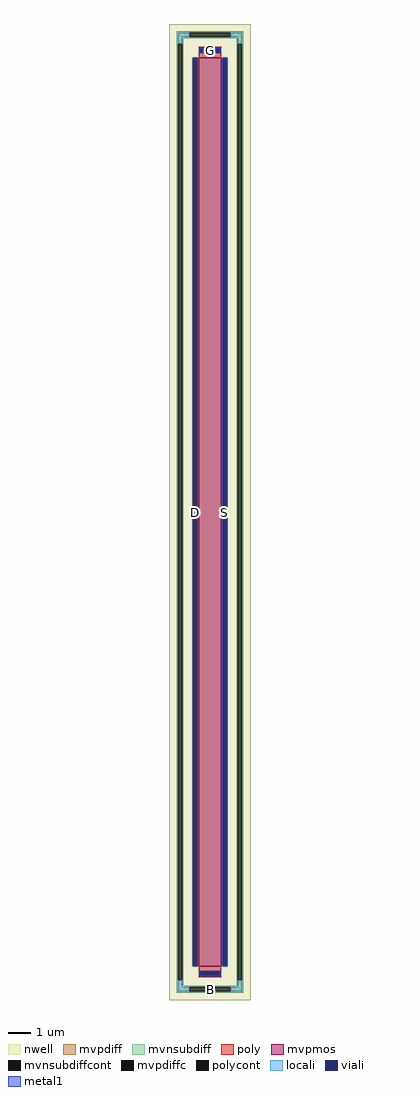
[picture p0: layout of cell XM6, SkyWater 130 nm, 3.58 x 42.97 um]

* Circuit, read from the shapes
.subckt XM6 B D S G
XM1 S G D B sky130_fd_pr__pfet_g5v0d10v5 w=40 l=1
.ends

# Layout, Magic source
magic
tech sky130A
magscale 1 2
<< nwell >>
rect -358 -4297 358 4297
<< mvpmos >>
rect -100 -4000 100 4000
<< mvpdiff >>
rect -158 3988 -100 4000
rect -158 -3988 -146 3988
rect -112 -3988 -100 3988
rect -158 -4000 -100 -3988
rect 100 3988 158 4000
rect 100 -3988 112 3988
rect 146 -3988 158 3988
rect 100 -4000 158 -3988
<< mvpdiffc >>
rect -146 -3988 -112 3988
rect 112 -3988 146 3988
<< mvnsubdiff >>
rect -292 4219 292 4231
rect -292 4185 -184 4219
rect 184 4185 292 4219
rect -292 4173 292 4185
rect -292 4123 -234 4173
rect -292 -4123 -280 4123
rect -246 -4123 -234 4123
rect 234 4123 292 4173
rect -292 -4173 -234 -4123
rect 234 -4123 246 4123
rect 280 -4123 292 4123
rect 234 -4173 292 -4123
rect -292 -4185 292 -4173
rect -292 -4219 -184 -4185
rect 184 -4219 292 -4185
rect -292 -4231 292 -4219
<< mvnsubdiffcont >>
rect -184 4185 184 4219
rect -280 -4123 -246 4123
rect 246 -4123 280 4123
rect -184 -4219 184 -4185
<< poly >>
rect -100 4081 100 4097
rect -100 4047 -84 4081
rect 84 4047 100 4081
rect -100 4000 100 4047
rect -100 -4047 100 -4000
rect -100 -4081 -84 -4047
rect 84 -4081 100 -4047
rect -100 -4097 100 -4081
<< polycont >>
rect -84 4047 84 4081
rect -84 -4081 84 -4047
<< locali >>
rect -280 4185 -184 4219
rect 184 4185 280 4219
rect -280 4123 -246 4185
rect 246 4123 280 4185
rect -100 4047 -84 4081
rect 84 4047 100 4081
rect -146 3988 -112 4004
rect -146 -4004 -112 -3988
rect 112 3988 146 4004
rect 112 -4004 146 -3988
rect -100 -4081 -84 -4047
rect 84 -4081 100 -4047
rect -280 -4185 -246 -4123
rect -33 -4185 33 -4169
rect 246 -4185 280 -4123
rect -280 -4219 -184 -4185
rect 184 -4219 280 -4185
rect -33 -4235 33 -4219
<< viali >>
rect -84 4047 84 4081
rect -146 -3988 -112 3988
rect 112 -3988 146 3988
rect -84 -4081 84 -4047
rect -17 -4219 17 -4185
<< metal1 >>
rect -96 4081 96 4087
rect -96 4047 -84 4081
rect 84 4047 96 4081
rect -96 4041 96 4047
rect -152 3988 -106 4000
rect -152 -3988 -146 3988
rect -112 -3988 -106 3988
rect -152 -4000 -106 -3988
rect 106 3988 152 4000
rect 106 -3988 112 3988
rect 146 -3988 152 3988
rect 106 -4000 152 -3988
rect -96 -4047 96 -4041
rect -96 -4081 -84 -4047
rect 84 -4081 96 -4047
rect -96 -4087 96 -4081
rect -30 -4185 30 -4172
rect -30 -4219 -17 -4185
rect 17 -4219 30 -4185
rect -30 -4232 30 -4219
<< labels >>
rlabel mvnsubdiffcont 0 -4202 0 -4202 0 B
port 4 nsew
rlabel mvpdiffc -129 0 -129 0 0 D
port 5 nsew
rlabel mvpdiffc 129 0 129 0 0 S
port 6 nsew
rlabel polycont 0 4064 0 4064 0 G
port 7 nsew
<< properties >>
string FIXED_BBOX -263 -4202 263 4202
<< end >>
